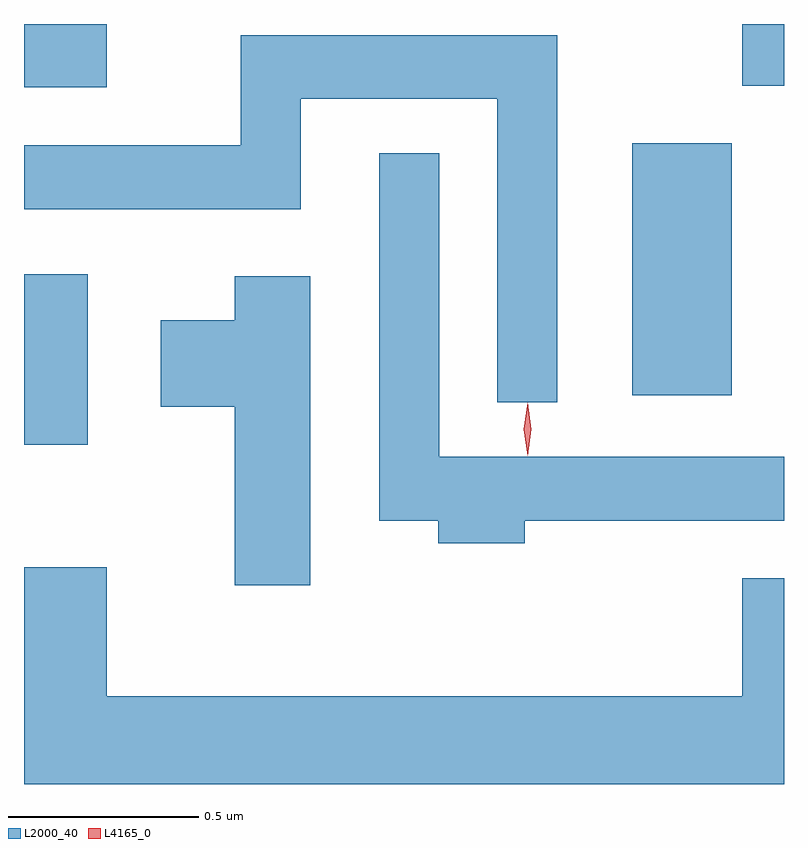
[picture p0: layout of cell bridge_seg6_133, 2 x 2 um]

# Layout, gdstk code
import gdstk
lib = gdstk.Library(unit=1e-6, precision=1e-09)
def R(c, l, rs):  # rectangles x0, y0, x1, y1
    for r in rs: c.add(gdstk.rectangle(r[:2], r[2:], *l))
def P(c, l, *ps):  # polygons
    for p in ps: c.add(gdstk.Polygon(p, *l))
L2000_40 = (2000, 40)
L4165_0 = (4165, 0)

bridge_seg6_133 = lib.new_cell('bridge_seg6_133')
R(bridge_seg6_133, L2000_40, [(1169.711,1628.666,1169.879,1629.114), (1171.311,1628.796,1171.574,1629.459), (1169.711,1629.606,1169.929,1629.773), (1171.601,1629.611,1171.711,1629.773)])
P(bridge_seg6_133, L2000_40, [(1171.114,1629.744),(1170.281,1629.744),(1170.281,1629.454),(1169.711,1629.454),(1169.711,1629.286),(1170.439,1629.286),(1170.439,1629.576),(1170.956,1629.576),(1170.956,1628.778),(1171.114,1628.778)],
  [(1171.029,1628.466),(1171.711,1628.466),(1171.711,1628.634),(1170.804,1628.634),(1170.804,1629.433),(1170.646,1629.433),(1170.646,1628.466),(1170.801,1628.466),(1170.801,1628.406),(1171.029,1628.406)],
  [(1170.464,1629.109),(1170.266,1629.109),(1170.266,1628.994),(1170.071,1628.994),(1170.071,1628.766),(1170.266,1628.766),(1170.266,1628.296),(1170.464,1628.296)],
  [(1171.711,1628.314),(1171.601,1628.314),(1171.601,1628.004),(1169.929,1628.004),(1169.929,1628.344),(1169.711,1628.344),(1169.711,1627.773),(1171.711,1627.773)])
P(bridge_seg6_133, L4165_0, [(1171.036,1628.637),(1171.036,1628.637),(1171.026,1628.707),(1171.036,1628.776),(1171.036,1628.776),(1171.037,1628.776),(1171.046,1628.707),(1171.037,1628.637)],
  [(1171.036,1628.639),(1171.036,1628.64),(1171.026,1628.706),(1171.036,1628.772),(1171.036,1628.773),(1171.037,1628.772),(1171.046,1628.706),(1171.037,1628.64)])

lib.write_gds('bridge_seg6_133.gds')
